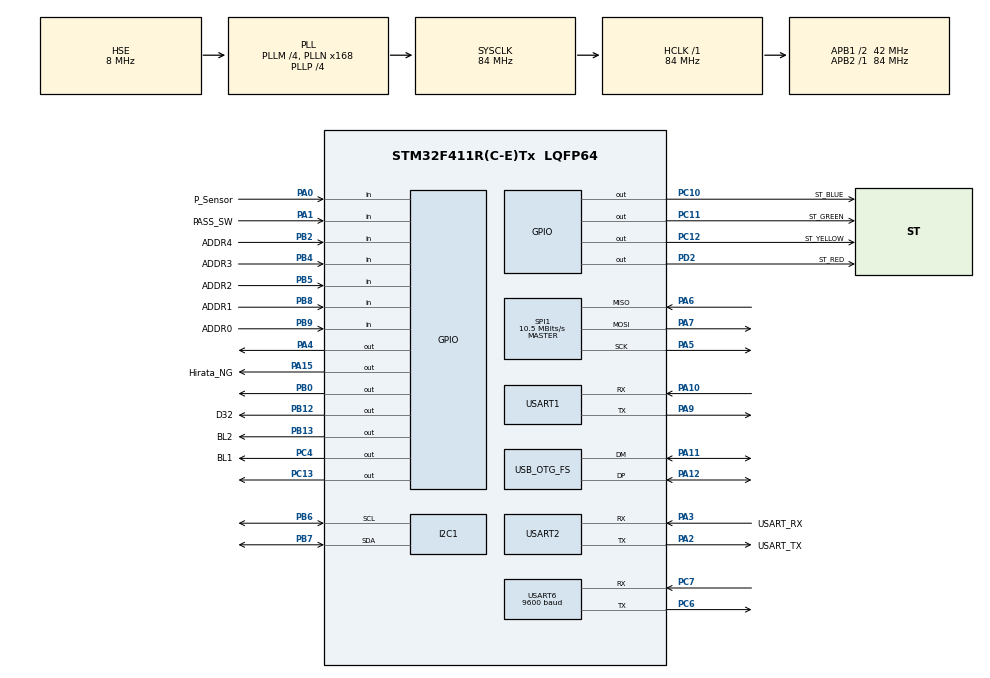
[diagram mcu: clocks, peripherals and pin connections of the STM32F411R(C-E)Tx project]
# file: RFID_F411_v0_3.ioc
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Dma.Request0=USART6_RX
Dma.Request1=USART6_TX
Dma.USART6_RX.0.Direction=DMA_PERIPH_TO_MEMORY
Dma.USART6_RX.0.FIFOMode=DMA_FIFOMODE_DISABLE
Dma.USART6_RX.0.Instance=DMA2_Stream1
Dma.USART6_RX.0.MemDataAlignment=DMA_MDATAALIGN_BYTE
Dma.USART6_RX.0.MemInc=DMA_MINC_ENABLE
Dma.USART6_RX.0.Mode=DMA_NORMAL
Dma.USART6_RX.0.PeriphDataAlignment=DMA_PDATAALIGN_BYTE
Dma.USART6_RX.0.PeriphInc=DMA_PINC_DISABLE
Dma.USART6_RX.0.Priority=DMA_PRIORITY_LOW
Dma.USART6_TX.1.Direction=DMA_MEMORY_TO_PERIPH
Dma.USART6_TX.1.FIFOMode=DMA_FIFOMODE_DISABLE
Dma.USART6_TX.1.Instance=DMA2_Stream6
Dma.USART6_TX.1.MemDataAlignment=DMA_MDATAALIGN_BYTE
Dma.USART6_TX.1.MemInc=DMA_MINC_ENABLE
Dma.USART6_TX.1.Mode=DMA_NORMAL
Dma.USART6_TX.1.PeriphDataAlignment=DMA_PDATAALIGN_BYTE
Dma.USART6_TX.1.PeriphInc=DMA_PINC_DISABLE
Dma.USART6_TX.1.Priority=DMA_PRIORITY_LOW
Mcu.Family=STM32F4
Mcu.Name=STM32F411R(C-E)Tx
Mcu.Package=LQFP64
NVIC.DMA2_Stream1_IRQn=true\:0\:0\:false\:false\:true\:false\:true\:true
NVIC.DMA2_Stream6_IRQn=true\:0\:0\:false\:false\:true\:false\:true\:true
NVIC.OTG_FS_IRQn=true\:0\:0\:false\:false\:true\:true\:true\:true
NVIC.PriorityGroup=NVIC_PRIORITYGROUP_0
NVIC.USART6_IRQn=true\:0\:0\:false\:false\:true\:true\:true\:true
PA0-WKUP.GPIO_Label=P_Sensor
PA0-WKUP.Signal=GPIO_Input
PA1.GPIO_Label=PASS_SW
PA1.Signal=GPIO_Input
PA10.Mode=Asynchronous
PA10.Signal=USART1_RX
PA11.Mode=Device_Only
PA11.Signal=USB_OTG_FS_DM
PA12.Mode=Device_Only
PA12.Signal=USB_OTG_FS_DP
PA13.GPIO_Label=TMS
PA13.Mode=Serial_Wire
PA13.Signal=SYS_JTMS-SWDIO
PA14.GPIO_Label=TCK
PA14.Mode=Serial_Wire
PA14.Signal=SYS_JTCK-SWCLK
PA15.GPIO_Label=Hirata_NG
PA15.GPIO_PuPd=GPIO_PULLUP
PA15.Signal=GPIO_Output
PA2.GPIO_Label=USART_TX
PA2.Mode=Asynchronous
PA2.Signal=USART2_TX
PA3.GPIO_Label=USART_RX
PA3.Mode=Asynchronous
PA3.Signal=USART2_RX
PA4.Signal=GPIO_Output
PA5.Mode=Full_Duplex_Master
PA5.Signal=SPI1_SCK
PA6.Mode=Full_Duplex_Master
PA6.Signal=SPI1_MISO
PA7.Mode=Full_Duplex_Master
PA7.Signal=SPI1_MOSI
PA9.Mode=Asynchronous
PA9.Signal=USART1_TX
PB0.Signal=GPIO_Output
PB12.GPIO_Label=D32
PB12.Signal=GPIO_Output
PB13.GPIO_Label=BL2
PB13.Signal=GPIO_Output
PB2.GPIO_Label=ADDR4
PB2.Signal=GPIO_Input
PB3.GPIO_Label=SWO
PB3.Signal=SYS_JTDO-SWO
PB4.GPIO_Label=ADDR3
PB4.Signal=GPIO_Input
PB5.GPIO_Label=ADDR2
PB5.Signal=GPIO_Input
PB6.Mode=I2C
PB6.Signal=I2C1_SCL
PB7.Mode=I2C
PB7.Signal=I2C1_SDA
PB8.GPIO_Label=ADDR1
PB8.Signal=GPIO_Input
PB9.GPIO_Label=ADDR0
PB9.Signal=GPIO_Input
PC10.GPIO_Label=ST_BLUE
PC10.Signal=GPIO_Output
PC11.GPIO_Label=ST_GREEN
PC11.Signal=GPIO_Output
PC12.GPIO_Label=ST_YELLOW
PC12.Signal=GPIO_Output
PC13-ANTI_TAMP.Signal=GPIO_Output
PC14-OSC32_IN.Mode=LSE-External-Oscillator
PC14-OSC32_IN.Signal=RCC_OSC32_IN
PC15-OSC32_OUT.Mode=LSE-External-Oscillator
PC15-OSC32_OUT.Signal=RCC_OSC32_OUT
PC4.GPIO_Label=BL1
PC4.Signal=GPIO_Output
PC6.Mode=Asynchronous
PC6.Signal=USART6_TX
PC7.Mode=Asynchronous
PC7.Signal=USART6_RX
PD2.GPIO_Label=ST_RED
PD2.Signal=GPIO_Output
PH0\ -\ OSC_IN.Mode=HSE-External-Clock-Source
PH0\ -\ OSC_IN.Signal=RCC_OSC_IN
PH1\ -\ OSC_OUT.Mode=HSE-External-Clock-Source
PH1\ -\ OSC_OUT.Signal=RCC_OSC_OUT
ProjectManager.HeapSize=0x800
ProjectManager.StackSize=0x1000
ProjectManager.TargetToolchain=STM32CubeIDE
RCC.48MHZClocksFreq_Value=48000000
RCC.AHBFreq_Value=84000000
RCC.APB1CLKDivider=RCC_HCLK_DIV2
RCC.APB1Freq_Value=42000000
RCC.APB1TimFreq_Value=84000000
RCC.APB2Freq_Value=84000000
RCC.APB2TimFreq_Value=84000000
RCC.CortexFreq_Value=84000000
RCC.FLatency-AdvancedSettings=FLASH_LATENCY_2
RCC.HCLKFreq_Value=84000000
RCC.HSE_VALUE=8000000
RCC.HSI_VALUE=16000000
RCC.PLLM=4
RCC.PLLN=168
RCC.PLLP=RCC_PLLP_DIV4
RCC.PLLQ=7
RCC.PLLSourceVirtual=RCC_PLLSOURCE_HSE
RCC.SYSCLKFreq_VALUE=84000000
RCC.SYSCLKSource=RCC_SYSCLKSOURCE_PLLCLK
RCC.VCOOutputFreq_Value=336000000
SPI1.BaudRatePrescaler=SPI_BAUDRATEPRESCALER_8
SPI1.CalculateBaudRate=10.5 MBits/s
SPI1.Direction=SPI_DIRECTION_2LINES
SPI1.Mode=SPI_MODE_MASTER
SPI1.VirtualType=VM_MASTER
USART1.VirtualMode=VM_ASYNC
USART2.VirtualMode=VM_ASYNC
USART6.BaudRate=9600
USART6.VirtualMode=VM_ASYNC
USB_DEVICE.CLASS_NAME_FS=CDC
USB_DEVICE.VirtualMode=Cdc
USB_DEVICE.VirtualModeFS=Cdc_FS
USB_OTG_FS.VirtualMode=Device_Only
VP_USB_DEVICE_VS_USB_DEVICE_CDC_FS.Mode=CDC_FS
board=NUCLEO-F411RE

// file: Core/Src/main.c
/* USER CODE BEGIN Header */
/**
  ******************************************************************************
  * @file           : main.c
  * @brief          : Main program body
  ******************************************************************************
  * @attention
  *
  * Copyright (c) 2024 STMicroelectronics.
  * All rights reserved.
  *
  * This software is licensed under terms that can be found in the LICENSE file
  * in the root directory of this software component.
  * If no LICENSE file comes with this software, it is provided AS-IS.
  *
  ******************************************************************************
  */
/* USER CODE END Header */
#include "main.h"
#include "dma.h"
#include "i2c.h"
#include "spi.h"
#include "usart.h"
#include "usb_device.h"
#include "gpio.h"

/* USER CODE BEGIN Includes */
#include "rc522.h"
#include "string.h"
#include "stdio.h"
#include "string.h"
#include "stdbool.h"
#include <stdio.h>
#include "ring_buffer.h"
#include "parser_simple.h"
/* USER CODE END Includes */

/* USER CODE BEGIN PV */

//zmienne z biblioteki pod rc522
uint8_t request_status;
uint8_t anticoll_status;
uint8_t selecttag_status;
uint8_t auth_status;
uint8_t read_status;
uint8_t str[4]; 	// Max_LEN = 16
uint8_t rec[14];	// chwilowe odczytanie jakby
uint8_t sectorkey[6]= {0xFF, 0xFF, 0xFF, 0xFF, 0xFF, 0xFF};

uint8_t rec_data[14];		//dane odczytane z karty
uint8_t read_flag =1;		//0 dana odczytana, na chwile zeby wyslac na usb
bool addr_d[4];
uint8_t slave_addr[2]={0,0};
const bool liczba0[4]={0,0,0,0};
const bool liczba1[4]={0,0,0,1};
const bool liczba2[4]={0,0,1,0};
const bool liczba3[4]={0,0,1,1};
const bool liczba4[4]={0,1,0,0};
const bool liczba5[4]={0,1,0,1};
const bool liczba6[4]={0,1,1,0};
const bool liczba7[4]={0,1,1,1};
const bool liczba8[4]={1,0,0,0};
const bool liczba9[4]={1,0,0,1};
const bool liczba10[4]={1,0,1,0};
const bool liczba11[4]={1,0,1,1};
const bool liczba12[4]={1,1,0,0};
const bool liczba13[4]={1,1,0,1};
const bool liczba14[4]={1,1,1,0};
const bool liczba15[4]={1,1,1,1};

bool sw_pass_s;
uint8_t rx_data[64];
uint8_t rx_data_temp;
uint8_t sw_status;
uint8_t send_buffer[] = {"TM_00_P_S_PAL_Linia_X_XX\n"}; //wzor
uint8_t ReceviedLines; // Complete lines counter
uint8_t ReceivedData[64]; // A buffer for parsing

/* USER CODE END PV */

void SystemClock_Config(void);
/* USER CODE BEGIN PFP */
void UART_Log(char* Message);
void RFID_Read();
void RS_Transmit(char* Message);
void ADDR_Check();
void HAL_UART_RxCpltCallback(UART_HandleTypeDef *huart);
/* USER CODE END PFP */

int main(void)
{

  /* MCU Configuration--------------------------------------------------------*/

  /* Reset of all peripherals, Initializes the Flash interface and the Systick. */
  HAL_Init();

  /* Configure the system clock */
  SystemClock_Config();

  /* Initialize all configured peripherals */
  MX_GPIO_Init();
  MX_DMA_Init();
  MX_USART2_UART_Init();
  MX_SPI1_Init();
  MX_I2C1_Init();
  MX_USART1_UART_Init();
  MX_USART6_UART_Init();
  MX_USB_DEVICE_Init();
  /* USER CODE BEGIN 2 */
  //ledy wylaczone
  HAL_GPIO_WritePin(ST_RED_GPIO_Port, ST_RED_Pin, GPIO_PIN_SET);	//error

  HAL_GPIO_WritePin(ST_BLUE_GPIO_Port, ST_BLUE_Pin, GPIO_PIN_SET);	//other

  UART_Log("RFID ver. 0.3\n\r");
  ADDR_Check();
  send_buffer[3] = slave_addr[0];
  send_buffer[4] = slave_addr[1];
  HAL_Delay(1500);

  HAL_GPIO_WritePin(ST_RED_GPIO_Port, ST_RED_Pin, GPIO_PIN_RESET);	//error
  HAL_GPIO_WritePin(ST_BLUE_GPIO_Port, ST_BLUE_Pin, GPIO_PIN_RESET);	//other

  //send_status_buffer = "AT_00_"

  HAL_UART_Receive_IT(&huart6, &rx_data_temp, 1);
  //send_buffer[24] = ('\n');
  UART_Log("INIT OK...\n\r");

  //HAL_GPIO_WritePin(ST_YELLOW_GPIO_Port, ST_YELLOW_Pin, GPIO_PIN_SET);
  /* USER CODE END 2 */

  /* Infinite loop */
  /* USER CODE BEGIN WHILE */
  while (1)
  {
	  //HAL_UART_Receive_IT(&huart6, &rx_data_temp, 1);
	  //for(size_t i = 0; i < sizeof rx_data; ++i)	//clearread data
		//  rx_data[i] = 0;

	  //sw_pass_s = HAL_GPIO_ReadPin(PASS_SW_GPIO_Port, PASS_SW_Pin);

	  //if(sw_pass_s == true)
	  //{
		  //pass
		  //HAL_UART_Receive_DMA(&huart6, &rx_data, 4);
		  //UART_Log("SW_PASS status = PASS\n\r");
		  send_buffer[6] = 'P';
		  read_flag = 1;
		  RFID_Read();
		  //HAL_Delay(5);
	  //}
	  //else
	  //{
		  //bypass
		 // UART_Log("SW_PASS status = BYPASS\n\r");
		 // send_buffer[6] = 'B';
		 // while(1)
		 // {
		//	  sw_pass_s = HAL_GPIO_ReadPin(PASS_SW_GPIO_Port, PASS_SW_Pin);
		//	  HAL_Delay(10);
			  //HAL_UART_Receive_DMA(&huart6, rx_data, 4);

			//  if(sw_pass_s == true)
			//  {
			//	  sw_status = 1; //PASS
				  //UART_Log("SW_PASS status = PASS\n\r");
			//	  break;
			 // }
			 // else
			 // {
				//  sw_status = 0; //BYPASS
				 // send_buffer[6] = 'B';
				 // UART_Log("SW_PASS status = BYPASS\n\r");

				  if(ReceviedLines > 0)
				 	  {
				 		  // Take one line from the Ring Buffer to work-buffer
				 		  Parser_TakeLine(&rx_data, ReceivedData);

				 		  // Decrement complete lines counter
				 		  ReceviedLines--;

				 		  // Run the parser with work-buffer
				 		  Parser_Parse(ReceivedData);
				 		  //RB_Flush(&rx_data);
				 	  }
				 // continue;
			  //}
		 // }
	 // }

	 // if(ReceviedLines > 0)
	 	//  {
	 		  // Take one line from the Ring Buffer to work-buffer
	 		//  Parser_TakeLine(&rx_data, ReceivedData);

	 		  // Decrement complete lines counter
	 		//  ReceviedLines--;

	 		  // Run the parser with work-buffer
	 		 // Parser_Parse(ReceivedData);
	 		  //RB_Flush(&rx_data);
	 	  //}

  }

    /* USER CODE END WHILE */

}

void SystemClock_Config(void)
{
  RCC_OscInitTypeDef RCC_OscInitStruct = {0};
  RCC_ClkInitTypeDef RCC_ClkInitStruct = {0};

  /** Configure the main internal regulator output voltage
  */
  __HAL_RCC_PWR_CLK_ENABLE();
  __HAL_PWR_VOLTAGESCALING_CONFIG(PWR_REGULATOR_VOLTAGE_SCALE1);

  /** Initializes the RCC Oscillators according to the specified parameters
  * in the RCC_OscInitTypeDef structure.
  */
  RCC_OscInitStruct.OscillatorType = RCC_OSCILLATORTYPE_HSE;
  RCC_OscInitStruct.HSEState = RCC_HSE_BYPASS;
  RCC_OscInitStruct.PLL.PLLState = RCC_PLL_ON;
  RCC_OscInitStruct.PLL.PLLSource = RCC_PLLSOURCE_HSE;
  RCC_OscInitStruct.PLL.PLLM = 4;
  RCC_OscInitStruct.PLL.PLLN = 168;
  RCC_OscInitStruct.PLL.PLLP = RCC_PLLP_DIV4;
  RCC_OscInitStruct.PLL.PLLQ = 7;
  if (HAL_RCC_OscConfig(&RCC_OscInitStruct) != HAL_OK)
  {
    Error_Handler();
  }

  /** Initializes the CPU, AHB and APB buses clocks
  */
  RCC_ClkInitStruct.ClockType = RCC_CLOCKTYPE_HCLK|RCC_CLOCKTYPE_SYSCLK
                              |RCC_CLOCKTYPE_PCLK1|RCC_CLOCKTYPE_PCLK2;
  RCC_ClkInitStruct.SYSCLKSource = RCC_SYSCLKSOURCE_PLLCLK;
  RCC_ClkInitStruct.AHBCLKDivider = RCC_SYSCLK_DIV1;
  RCC_ClkInitStruct.APB1CLKDivider = RCC_HCLK_DIV2;
  RCC_ClkInitStruct.APB2CLKDivider = RCC_HCLK_DIV1;

  if (HAL_RCC_ClockConfig(&RCC_ClkInitStruct, FLASH_LATENCY_2) != HAL_OK)
  {
    Error_Handler();
  }
}

/* USER CODE BEGIN 4 */

void HAL_UART_RxCpltCallback(UART_HandleTypeDef *huart)
{

	if(huart->Instance == USART6)
	{
		//RB_Write(&rx_data, rx_data_temp);
		//HAL_UART_Receive_IT(&huart6, &rx_data_temp, 1);

		// Try to write into the Ring Buffer
		if(RB_OK == RB_Write(&rx_data, rx_data_temp))
		{
			// Check if current byte is the endline char
			if(rx_data_temp == ENDLINE)
			{
				// Increment complete lines
				ReceviedLines++;
			}
		}

		//if(rx_data[31] != 0)
		//{
		//	RB_Flush(&rx_data);
		//}
		// Start to listening UART again - important!
		HAL_UART_Receive_IT(&huart6, &rx_data_temp, 1);

	}
}

void UART_Log(char* Message1)
{
	HAL_UART_Transmit(&huart2, (uint8_t*)Message1, strlen(Message1), 1000);
}

void RS_Transmit(char* Message)
{
	//HAL_UART_Transmit_IT(&huart6, (uint8_t*)Message, strlen(Message));
	HAL_UART_Transmit(&huart6, (uint8_t*)Message, strlen(Message), 1000);
}

void RFID_Read()
{
	  MFRC522_Init();
	  	HAL_Delay(5);
	request_status = MFRC522_Request(PICC_REQIDL, str);
	//HAL_Delay(5);

	if(request_status == 0){
		request_status = 2;
		HAL_GPIO_WritePin(ST_BLUE_GPIO_Port, ST_BLUE_Pin, GPIO_PIN_SET);	//other
		//HAL_Delay(5);
	anticoll_status = MFRC522_Anticoll(str);
	//HAL_Delay(5);
	selecttag_status = MFRC522_SelectTag(str);
	//HAL_Delay(5);

	auth_status = MFRC522_Auth(0x60,20,sectorkey,str);
	//HAL_Delay(5);

	//if(auth_status == 0){
	read_status = MFRC522_Read(20, rec);
	//HAL_Delay(5);
	MFRC522_Halt();
	//HAL_Delay(5);

	//if(read_status == 0)
	//	{
		 HAL_GPIO_WritePin(ST_BLUE_GPIO_Port, ST_BLUE_Pin, GPIO_PIN_SET);	//other
			memcpy(rec_data, rec, 14);
			//UART_Log("Read Tag: ");
			//UART_Log(rec_data);
			//UART_Log("\n\r");

			send_buffer[20] = rec_data[10];
			send_buffer[22] = rec_data[12];
			send_buffer[23] = rec_data[13];
			//send_buffer[5] = rec_data[3];
//			send_buffer[6] = rec_data[4];
//			send_buffer[7] = rec_data[5];
//			send_buffer[8] = rec_data[6];
//			send_buffer[9] = rec_data[7];
//			send_buffer[10] = rec_data[8];
//			send_buffer[11] = rec_data[9];
//			send_buffer[12] = rec_data[10];
//			send_buffer[13] = rec_data[11];
//			send_buffer[14] = rec_data[12];
//			send_buffer[15] = rec_data[13];
			// HAL_GPIO_WritePin(ST_BLUE_GPIO_Port, ST_BLUE_Pin, GPIO_PIN_RESET);	//other
			HAL_GPIO_WritePin(ST_BLUE_GPIO_Port, ST_BLUE_Pin, GPIO_PIN_RESET);	//other
		}
	//MFRC522_Halt();
		//HAL_Delay(1);

}

void ADDR_Check()
{
	  addr_d[0] = HAL_GPIO_ReadPin(ADDR0_GPIO_Port, ADDR0_Pin);
	  addr_d[1] = HAL_GPIO_ReadPin(ADDR1_GPIO_Port, ADDR1_Pin);
	  addr_d[2] = HAL_GPIO_ReadPin(ADDR2_GPIO_Port, ADDR2_Pin);
	  addr_d[3] = HAL_GPIO_ReadPin(ADDR3_GPIO_Port, ADDR3_Pin);

	  UART_Log("Addr: ");

	  if(addr_d[0] == liczba0[3] && addr_d[1] == liczba0[2] && addr_d[2] == liczba0[1] && addr_d[3] == liczba0[0])
	  {
		  slave_addr[0] = '0';
		  slave_addr[1] = '0';
		  UART_Log("0x00");
	  }
	  else if(addr_d[0] == liczba1[3] && addr_d[1] == liczba1[2] && addr_d[2] == liczba1[1] && addr_d[3] == liczba1[0])
	  {
		  slave_addr[0] = '0';
		  slave_addr[1] = '1';
		  UART_Log("0x01");
	  }
	  else if(addr_d[0] == liczba2[3] && addr_d[1] == liczba2[2] && addr_d[2] == liczba2[1] && addr_d[3] == liczba2[0])
	  {
		  slave_addr[0] = '0';
		  slave_addr[1] = '2';
		  UART_Log("0x02");
	  }
	  else if(addr_d[0] == liczba3[3] && addr_d[1] == liczba3[2] && addr_d[2] == liczba3[1] && addr_d[3] == liczba3[0])
	  {
		  slave_addr[0] = '0';
		  slave_addr[1] = '3';
		  UART_Log("0x03");
	  }
	  else if(addr_d[0] == liczba4[3] && addr_d[1] == liczba4[2] && addr_d[2] == liczba4[1] && addr_d[3] == liczba4[0])
	  {
		  slave_addr[0] = '0';
		  slave_addr[1] = '4';
		  UART_Log("0x04");
	  }
	  else if(addr_d[0] == liczba5[3] && addr_d[1] == liczba5[2] && addr_d[2] == liczba5[1] && addr_d[3] == liczba5[0])
	  {
		  slave_addr[0] = '0';
		  slave_addr[1] = '5';
		  UART_Log("0x05");
	  }
	  else if(addr_d[0] == liczba6[3] && addr_d[1] == liczba6[2] && addr_d[2] == liczba6[1] && addr_d[3] == liczba6[0])
	  {
		  slave_addr[0] = '0';
		  slave_addr[1] = '6';
		  UART_Log("0x06");
	  }
	  else if(addr_d[0] == liczba7[3] && addr_d[1] == liczba7[2] && addr_d[2] == liczba7[1] && addr_d[3] == liczba7[0])
	  {
		  slave_addr[0] = '0';
		  slave_addr[1] = '7';
		  UART_Log("0x07");
	  }
	  else if(addr_d[0] == liczba8[3] && addr_d[1] == liczba8[2] && addr_d[2] == liczba8[1] && addr_d[3] == liczba8[0])
	  {
		  slave_addr[0] = '0';
		  slave_addr[1] = '8';
		  UART_Log("0x08");
	  }
	  else if(addr_d[0] == liczba9[3] && addr_d[1] == liczba9[2] && addr_d[2] == liczba9[1] && addr_d[3] == liczba9[0])
	  {
		  slave_addr[0] = '0';
		  slave_addr[1] = '9';
		  UART_Log("0x09");
	  }
	  else if(addr_d[0] == liczba10[3] && addr_d[1] == liczba10[2] && addr_d[2] == liczba10[1] && addr_d[3] == liczba10[0])
	  {
		  slave_addr[0] = '1';
		  slave_addr[1] = '0';
		  UART_Log("0x0A");
	  }
	  else if(addr_d[0] == liczba11[3] && addr_d[1] == liczba11[2] && addr_d[2] == liczba11[1] && addr_d[3] == liczba11[0])
	  {
		  slave_addr[0] = '1';
		  slave_addr[1] = '1';
		  UART_Log("0x0B");
	  }
	  else if(addr_d[0] == liczba12[3] && addr_d[1] == liczba12[2] && addr_d[2] == liczba12[1] && addr_d[3] == liczba12[0])
	  {
		  slave_addr[0] = '1';
		  slave_addr[1] = '2';
		  UART_Log("0x0C");
	  }
	  else if(addr_d[0] == liczba13[3] && addr_d[1] == liczba13[2] && addr_d[2] == liczba13[1] && addr_d[3] == liczba13[0])
	  {
		  slave_addr[0] = '1';
		  slave_addr[1] = '3';
		  UART_Log("0x0D");
	  }
	  else if(addr_d[0] == liczba14[3] && addr_d[1] == liczba14[2] && addr_d[2] == liczba14[1] && addr_d[3] == liczba14[0])
	  {
		  slave_addr[0] = '1';
		  slave_addr[1] = '4';
		  UART_Log("0x0E");
	  }
	  else if(addr_d[0] == liczba15[3] && addr_d[1] == liczba15[2] && addr_d[2] == liczba15[1] && addr_d[3] == liczba15[0])
	  {
		  slave_addr[0] = '1';
		  slave_addr[1] = '5';
		  UART_Log("0x0F");
	  }
	  else
	  {
		  while(true)
		  {
		  slave_addr[0] = 'F';
		  slave_addr[1] = 'F';
		  UART_Log("0xFF incorrect addres check\n\r");
		  HAL_GPIO_WritePin(ST_RED_GPIO_Port, ST_RED_Pin, GPIO_PIN_SET);	//error
		  HAL_GPIO_WritePin(ST_YELLOW_GPIO_Port, ST_YELLOW_Pin, GPIO_PIN_RESET); //bypass
		  HAL_GPIO_WritePin(ST_GREEN_GPIO_Port, ST_GREEN_Pin, GPIO_PIN_RESET);	//run
		  HAL_GPIO_WritePin(ST_BLUE_GPIO_Port, ST_BLUE_Pin, GPIO_PIN_RESET);	//other
		  HAL_GPIO_WritePin(Hirata_NG_GPIO_Port, Hirata_NG_Pin, GPIO_PIN_RESET);
		  HAL_Delay(1000);
		  }
	  }

	  UART_Log("\n\r");
}

/* USER CODE END 4 */

void Error_Handler(void)
{
  /* USER CODE BEGIN Error_Handler_Debug */
  /* User can add his own implementation to report the HAL error return state */
  __disable_irq();
  while (1)
  {

	  UART_Log("Hard Fault: ERROR HANDLER\n\r");
	  HAL_GPIO_WritePin(ST_RED_GPIO_Port, ST_RED_Pin, GPIO_PIN_SET);
	  HAL_GPIO_WritePin(Hirata_NG_GPIO_Port, Hirata_NG_Pin, GPIO_PIN_RESET);
	  HAL_GPIO_WritePin(ST_YELLOW_GPIO_Port, ST_YELLOW_Pin, GPIO_PIN_RESET);
	  HAL_GPIO_WritePin(ST_GREEN_GPIO_Port, ST_GREEN_Pin, GPIO_PIN_RESET);
	  HAL_GPIO_WritePin(ST_BLUE_GPIO_Port, ST_BLUE_Pin, GPIO_PIN_RESET);
	  HAL_Delay(1000);
  }
  /* USER CODE END Error_Handler_Debug */
}
